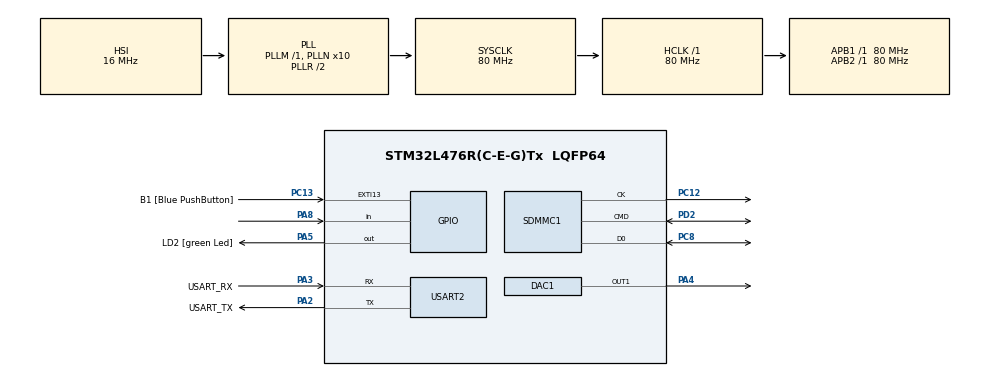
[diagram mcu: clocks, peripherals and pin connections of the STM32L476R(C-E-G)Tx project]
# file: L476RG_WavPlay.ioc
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DAC1.DAC_OutputBuffer-DAC_OUT1=DAC_OUTPUTBUFFER_ENABLE
DAC1.DAC_Trigger-DAC_OUT1=DAC_TRIGGER_T4_TRGO
Dma.DAC_CH1.0.Direction=DMA_MEMORY_TO_PERIPH
Dma.DAC_CH1.0.Instance=DMA1_Channel3
Dma.DAC_CH1.0.MemDataAlignment=DMA_MDATAALIGN_HALFWORD
Dma.DAC_CH1.0.MemInc=DMA_MINC_ENABLE
Dma.DAC_CH1.0.Mode=DMA_NORMAL
Dma.DAC_CH1.0.PeriphDataAlignment=DMA_PDATAALIGN_HALFWORD
Dma.DAC_CH1.0.PeriphInc=DMA_PINC_DISABLE
Dma.DAC_CH1.0.Priority=DMA_PRIORITY_LOW
Dma.Request0=DAC_CH1
FATFS.BSP.number=1
FATFS0.BSP.STBoard=false
FATFS0.BSP.api=Unknown
FATFS0.BSP.i2caddr=0
FATFS0.BSP.instance=PA8
FATFS0.BSP.ip=GPIO
FATFS0.BSP.mode=Input
FATFS0.BSP.name=Detect_SDIO
FATFS0.BSP.solution=PA8
Mcu.Family=STM32L4
Mcu.Name=STM32L476R(C-E-G)Tx
Mcu.Package=LQFP64
NVIC.DMA1_Channel3_IRQn=true\:0\:0\:false\:false\:true\:false\:true
NVIC.PriorityGroup=NVIC_PRIORITYGROUP_4
PA13\ (JTMS-SWDIO).GPIO_Label=TMS
PA13\ (JTMS-SWDIO).Mode=Serial_Wire
PA13\ (JTMS-SWDIO).Signal=SYS_JTMS-SWDIO
PA14\ (JTCK-SWCLK).GPIO_Label=TCK
PA14\ (JTCK-SWCLK).Mode=Serial_Wire
PA14\ (JTCK-SWCLK).Signal=SYS_JTCK-SWCLK
PA2.GPIO_Label=USART_TX
PA2.GPIO_Mode=GPIO_MODE_AF_PP
PA2.GPIO_PuPd=GPIO_NOPULL
PA2.GPIO_Speed=GPIO_SPEED_FREQ_VERY_HIGH
PA2.Mode=Asynchronous
PA2.Signal=USART2_TX
PA3.GPIO_Label=USART_RX
PA3.GPIO_Mode=GPIO_MODE_AF_PP
PA3.GPIO_PuPd=GPIO_NOPULL
PA3.GPIO_Speed=GPIO_SPEED_FREQ_VERY_HIGH
PA3.Mode=Asynchronous
PA3.Signal=USART2_RX
PA4.Signal=COMP_DAC11_group
PA5.GPIO_Label=LD2 [green Led]
PA5.GPIO_ModeDefaultOutputPP=GPIO_MODE_OUTPUT_PP
PA5.GPIO_PuPd=GPIO_NOPULL
PA5.GPIO_Speed=GPIO_SPEED_FREQ_LOW
PA5.Signal=GPIO_Output
PA8.Signal=GPIO_Input
PB3\ (JTDO-TRACESWO).GPIO_Label=SWO
PB3\ (JTDO-TRACESWO).Signal=SYS_JTDO-SWO
PC12.Mode=SD_1_bit
PC12.Signal=SDMMC1_CK
PC13.GPIO_Label=B1 [Blue PushButton]
PC13.GPIO_ModeDefaultEXTI=GPIO_MODE_IT_FALLING
PC13.GPIO_PuPd=GPIO_NOPULL
PC13.Signal=GPXTI13
PC14-OSC32_IN\ (PC14).Mode=LSE-External-Oscillator
PC14-OSC32_IN\ (PC14).Signal=RCC_OSC32_IN
PC15-OSC32_OUT\ (PC15).Mode=LSE-External-Oscillator
PC15-OSC32_OUT\ (PC15).Signal=RCC_OSC32_OUT
PC8.Mode=SD_1_bit
PC8.Signal=SDMMC1_D0
PD2.Mode=SD_1_bit
PD2.Signal=SDMMC1_CMD
PH0-OSC_IN\ (PH0).Signal=RCC_OSC_IN
PH1-OSC_OUT\ (PH1).Signal=RCC_OSC_OUT
ProjectManager.HeapSize=0x200
ProjectManager.StackSize=0x400
ProjectManager.TargetToolchain=STM32CubeIDE
RCC.ADCFreq_Value=64000000
RCC.AHBFreq_Value=80000000
RCC.APB1Freq_Value=80000000
RCC.APB1TimFreq_Value=80000000
RCC.APB2Freq_Value=80000000
RCC.APB2TimFreq_Value=80000000
RCC.CortexFreq_Value=80000000
RCC.HCLKFreq_Value=80000000
RCC.HSE_VALUE=8000000
RCC.HSI_VALUE=16000000
RCC.MSI_VALUE=4000000
RCC.PLLN=10
RCC.PLLSAI1Q=RCC_PLLQ_DIV4
RCC.PLLSourceVirtual=RCC_PLLSOURCE_HSI
RCC.PREFETCH_ENABLE=1
RCC.SYSCLKFreq_VALUE=80000000
RCC.SYSCLKSource=RCC_SYSCLKSOURCE_PLLCLK
RCC.USBFreq_Value=32000000
RCC.VCOOutputFreq_Value=160000000
SDMMC1.ClockDiv=0
SH.COMP_DAC11_group.0=DAC1_OUT1,DAC_OUT1
TIM4.Period=1813
TIM4.TIM_MasterOutputTrigger=TIM_TRGO_UPDATE
USART2.VirtualMode-Asynchronous=VM_ASYNC
VP_FATFS_VS_SDIO.Mode=SDIO
VP_TIM4_VS_ClockSourceINT.Mode=Internal
board=NUCLEO-L476RG

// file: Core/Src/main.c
/* USER CODE BEGIN Header */
/**
******************************************************************************
* @file           : main.c
* @brief          : Main program body
******************************************************************************
* @attention
*
* <h2><center>&copy; Copyright (c) 2020 STMicroelectronics.
* All rights reserved.</center></h2>
*
* This software component is licensed by ST under BSD 3-Clause license,
* the "License"; You may not use this file except in compliance with the
* License. You may obtain a copy of the License at:
*                        opensource.org/licenses/BSD-3-Clause
*
******************************************************************************
*/
/* USER CODE END Header */
#include "main.h"
#include "fatfs.h"

/* USER CODE BEGIN Includes */
#include <string.h>
#include "wav.h"
/* USER CODE END Includes */

DAC_HandleTypeDef hdac1;
DMA_HandleTypeDef hdma_dac_ch1;

SD_HandleTypeDef hsd1;

TIM_HandleTypeDef htim4;

UART_HandleTypeDef huart2;

void SystemClock_Config(void);
static void MX_GPIO_Init(void);
static void MX_DMA_Init(void);
static void MX_USART2_UART_Init(void);
static void MX_DAC1_Init(void);
static void MX_SDMMC1_SD_Init(void);
static void MX_TIM4_Init(void);

/* USER CODE BEGIN 0 */

#define BUFSIZE 512

#define MIN(a,b) (((a)<(b))? (a):(b))
typedef void (*funcP)(uint8_t channels, uint16_t numSamples, void *pIn, uint16_t *pOutput);

uint8_t flg_dma_done;

static uint8_t fileBuffer[BUFSIZE];
static uint8_t dmaBuffer[2][BUFSIZE];
static uint8_t dmaBank = 0;

static void
setSampleRate(uint16_t freq)
{
  uint16_t period = (80000000 / freq) - 1;

  htim4.Instance = TIM4;
  htim4.Init.Prescaler = 0;
  htim4.Init.CounterMode = TIM_COUNTERMODE_UP;
  htim4.Init.Period = period;
  htim4.Init.ClockDivision = TIM_CLOCKDIVISION_DIV1;
  htim4.Init.AutoReloadPreload = TIM_AUTORELOAD_PRELOAD_DISABLE;
  HAL_TIM_Base_Init(&htim4);
}

static inline uint16_t
val2Dac8(int32_t v)
{
  uint16_t out = v << 3;
  return out;
}

static inline uint16_t
val2Dac16(int32_t v)
{
  v >>= 4;
  v += 2047;
  return v & 0xfff;
}

static void
prepareDACBuffer_8Bit(uint8_t channels, uint16_t numSamples, void *pIn, uint16_t *pOutput)
{
  uint8_t *pInput = (uint8_t *)pIn;

  for (int i=0; i<numSamples; i++) {
    int32_t val = 0;

    for(int j=0; j<channels; j++) {
      val += *pInput++;
    }
    val /= channels;
    *pOutput++ = val2Dac8(val);
  }
}

static void
prepareDACBuffer_16Bit(uint8_t channels, uint16_t numSamples, void *pIn, uint16_t *pOutput)
{
  int16_t *pInput = (int16_t *)pIn;

  for (int i=0; i<numSamples; i++) {
    int32_t val = 0;

    for(int j=0; j<channels; j++) {
      val += *pInput++;
    }
    val /= channels;
    *pOutput++ = val2Dac16(val);
  }
}

static void
outputSamples(FIL *fil, struct Wav_Header *header)
{
  const uint8_t channels = header->channels;
  const uint8_t bytesPerSample = header->bitsPerSample / 8;

  funcP prepareData = (header->bitsPerSample == 8)? prepareDACBuffer_8Bit : prepareDACBuffer_16Bit;

  flg_dma_done = 1;
  dmaBank = 0;

  uint32_t bytes_last = header->dataChunkLength;

  while(0 < bytes_last) {

    int blksize = (header->bitsPerSample == 8)? MIN(bytes_last, BUFSIZE / 2) : MIN(bytes_last, BUFSIZE);

    UINT bytes_read;
    FRESULT res;

    res = f_read(fil, fileBuffer, blksize, &bytes_read);
    if (res != FR_OK || bytes_read == 0)
      break;

    uint16_t numSamples = bytes_read / bytesPerSample / channels;
    int16_t     *pInput = (int16_t *)fileBuffer;
    uint16_t   *pOutput = (uint16_t *)dmaBuffer[dmaBank];

    prepareData(channels, numSamples, pInput, pOutput);

    // wait for DMA complete
    while(flg_dma_done == 0) {
      __NOP();
    }

    HAL_DAC_Stop_DMA(&hdac1, DAC_CHANNEL_1);
    flg_dma_done = 0;
    HAL_DAC_Start_DMA(&hdac1, DAC_CHANNEL_1, (uint32_t*)dmaBuffer[dmaBank], numSamples, DAC_ALIGN_12B_R);

    dmaBank = !dmaBank;
    bytes_last -= blksize;
  };

  while(flg_dma_done == 0) {
    __NOP();
  }

  HAL_DAC_Stop_DMA(&hdac1, DAC_CHANNEL_1);
}

static uint8_t
isSupprtedWavFile(const struct Wav_Header *header)
{
  if (strncmp(header->riff, "RIFF", 4 ) != 0)
    return 0;

  if (header->vfmt != 1)
    return 0;

  if (strncmp(header->dataChunkHeader, "data", 4 ) != 0)
    return 0;

  return 1;
}

static void
playWavFile(char *filename)
{
  FIL fil;
  FRESULT res;
  UINT count = 0;

  struct Wav_Header header;

  res = f_open(&fil, filename, FA_READ);
  if (res != FR_OK)
    return;

  res = f_read(&fil, &header, sizeof(struct Wav_Header), &count);
  if (res != FR_OK)
    goto done;

  if (!isSupprtedWavFile(&header))
    goto done;

  setSampleRate(header.sampleFreq);
  outputSamples(&fil, &header);

done :
  res = f_close(&fil);
  if (res != FR_OK)
    return;
}

/* USER CODE END 0 */

int main(void)
{

  /* MCU Configuration--------------------------------------------------------*/

  /* Reset of all peripherals, Initializes the Flash interface and the Systick. */
  HAL_Init();

  /* Configure the system clock */
  SystemClock_Config();

  /* Initialize all configured peripherals */
  MX_GPIO_Init();
  MX_DMA_Init();
  MX_USART2_UART_Init();
  MX_DAC1_Init();
  MX_SDMMC1_SD_Init();
  MX_TIM4_Init();
  MX_FATFS_Init();
  /* USER CODE BEGIN 2 */

  HAL_TIM_Base_Start(&htim4);

  FATFS FatFs;
  FRESULT res;
  DIR dir;
  FILINFO fno;

  res = f_mount(&FatFs, "", 0);
  if (res != FR_OK)
    return EXIT_FAILURE;

  res = f_opendir(&dir, "");
  if (res != FR_OK)
    return EXIT_FAILURE;

  while(1) {
    res = f_readdir(&dir, &fno);
    if (res != FR_OK || fno.fname[0] == 0)
      break;

    char *filename = fno.fname;

    if (strstr(filename, ".WAV") != 0) {
      playWavFile(filename);
    }

    HAL_Delay(1000);
  }

  res = f_closedir(&dir);

  /* USER CODE END 2 */

  /* Infinite loop */
  while (1)
  {

  }
}

void SystemClock_Config(void)
{
  RCC_OscInitTypeDef RCC_OscInitStruct = {0};
  RCC_ClkInitTypeDef RCC_ClkInitStruct = {0};
  RCC_PeriphCLKInitTypeDef PeriphClkInit = {0};

  /** Initializes the RCC Oscillators according to the specified parameters
   * in the RCC_OscInitTypeDef structure.
   */
  RCC_OscInitStruct.OscillatorType = RCC_OSCILLATORTYPE_HSI;
  RCC_OscInitStruct.HSIState = RCC_HSI_ON;
  RCC_OscInitStruct.HSICalibrationValue = RCC_HSICALIBRATION_DEFAULT;
  RCC_OscInitStruct.PLL.PLLState = RCC_PLL_ON;
  RCC_OscInitStruct.PLL.PLLSource = RCC_PLLSOURCE_HSI;
  RCC_OscInitStruct.PLL.PLLM = 1;
  RCC_OscInitStruct.PLL.PLLN = 10;
  RCC_OscInitStruct.PLL.PLLP = RCC_PLLP_DIV7;
  RCC_OscInitStruct.PLL.PLLQ = RCC_PLLQ_DIV2;
  RCC_OscInitStruct.PLL.PLLR = RCC_PLLR_DIV2;
  if (HAL_RCC_OscConfig(&RCC_OscInitStruct) != HAL_OK)
  {
    Error_Handler();
  }
  /** Initializes the CPU, AHB and APB buses clocks
   */
  RCC_ClkInitStruct.ClockType = RCC_CLOCKTYPE_HCLK|RCC_CLOCKTYPE_SYSCLK
    |RCC_CLOCKTYPE_PCLK1|RCC_CLOCKTYPE_PCLK2;
  RCC_ClkInitStruct.SYSCLKSource = RCC_SYSCLKSOURCE_PLLCLK;
  RCC_ClkInitStruct.AHBCLKDivider = RCC_SYSCLK_DIV1;
  RCC_ClkInitStruct.APB1CLKDivider = RCC_HCLK_DIV1;
  RCC_ClkInitStruct.APB2CLKDivider = RCC_HCLK_DIV1;

  if (HAL_RCC_ClockConfig(&RCC_ClkInitStruct, FLASH_LATENCY_4) != HAL_OK)
  {
    Error_Handler();
  }
  PeriphClkInit.PeriphClockSelection = RCC_PERIPHCLK_USART2|RCC_PERIPHCLK_SDMMC1;
  PeriphClkInit.Usart2ClockSelection = RCC_USART2CLKSOURCE_PCLK1;
  PeriphClkInit.Sdmmc1ClockSelection = RCC_SDMMC1CLKSOURCE_PLLSAI1;
  PeriphClkInit.PLLSAI1.PLLSAI1Source = RCC_PLLSOURCE_HSI;
  PeriphClkInit.PLLSAI1.PLLSAI1M = 1;
  PeriphClkInit.PLLSAI1.PLLSAI1N = 8;
  PeriphClkInit.PLLSAI1.PLLSAI1P = RCC_PLLP_DIV7;
  PeriphClkInit.PLLSAI1.PLLSAI1Q = RCC_PLLQ_DIV4;
  PeriphClkInit.PLLSAI1.PLLSAI1R = RCC_PLLR_DIV2;
  PeriphClkInit.PLLSAI1.PLLSAI1ClockOut = RCC_PLLSAI1_48M2CLK;
  if (HAL_RCCEx_PeriphCLKConfig(&PeriphClkInit) != HAL_OK)
  {
    Error_Handler();
  }
  /** Configure the main internal regulator output voltage
   */
  if (HAL_PWREx_ControlVoltageScaling(PWR_REGULATOR_VOLTAGE_SCALE1) != HAL_OK)
  {
    Error_Handler();
  }
}

static void MX_DAC1_Init(void)
{

  DAC_ChannelConfTypeDef sConfig = {0};

  /** DAC Initialization
   */
  hdac1.Instance = DAC1;
  if (HAL_DAC_Init(&hdac1) != HAL_OK)
  {
    Error_Handler();
  }
  /** DAC channel OUT1 config
   */
  sConfig.DAC_SampleAndHold = DAC_SAMPLEANDHOLD_DISABLE;
  sConfig.DAC_Trigger = DAC_TRIGGER_T4_TRGO;
  sConfig.DAC_OutputBuffer = DAC_OUTPUTBUFFER_ENABLE;
  sConfig.DAC_ConnectOnChipPeripheral = DAC_CHIPCONNECT_DISABLE;
  sConfig.DAC_UserTrimming = DAC_TRIMMING_FACTORY;
  if (HAL_DAC_ConfigChannel(&hdac1, &sConfig, DAC_CHANNEL_1) != HAL_OK)
  {
    Error_Handler();
  }

}

static void MX_SDMMC1_SD_Init(void)
{

  hsd1.Instance = SDMMC1;
  hsd1.Init.ClockEdge = SDMMC_CLOCK_EDGE_RISING;
  hsd1.Init.ClockBypass = SDMMC_CLOCK_BYPASS_DISABLE;
  hsd1.Init.ClockPowerSave = SDMMC_CLOCK_POWER_SAVE_DISABLE;
  hsd1.Init.BusWide = SDMMC_BUS_WIDE_1B;
  hsd1.Init.HardwareFlowControl = SDMMC_HARDWARE_FLOW_CONTROL_DISABLE;
  hsd1.Init.ClockDiv = 0;

}

static void MX_TIM4_Init(void)
{

  TIM_ClockConfigTypeDef sClockSourceConfig = {0};
  TIM_MasterConfigTypeDef sMasterConfig = {0};

  htim4.Instance = TIM4;
  htim4.Init.Prescaler = 0;
  htim4.Init.CounterMode = TIM_COUNTERMODE_UP;
  htim4.Init.Period = 1813;
  htim4.Init.ClockDivision = TIM_CLOCKDIVISION_DIV1;
  htim4.Init.AutoReloadPreload = TIM_AUTORELOAD_PRELOAD_DISABLE;
  if (HAL_TIM_Base_Init(&htim4) != HAL_OK)
  {
    Error_Handler();
  }
  sClockSourceConfig.ClockSource = TIM_CLOCKSOURCE_INTERNAL;
  if (HAL_TIM_ConfigClockSource(&htim4, &sClockSourceConfig) != HAL_OK)
  {
    Error_Handler();
  }
  sMasterConfig.MasterOutputTrigger = TIM_TRGO_UPDATE;
  sMasterConfig.MasterSlaveMode = TIM_MASTERSLAVEMODE_DISABLE;
  if (HAL_TIMEx_MasterConfigSynchronization(&htim4, &sMasterConfig) != HAL_OK)
  {
    Error_Handler();
  }

}

static void MX_USART2_UART_Init(void)
{

  huart2.Instance = USART2;
  huart2.Init.BaudRate = 115200;
  huart2.Init.WordLength = UART_WORDLENGTH_8B;
  huart2.Init.StopBits = UART_STOPBITS_1;
  huart2.Init.Parity = UART_PARITY_NONE;
  huart2.Init.Mode = UART_MODE_TX_RX;
  huart2.Init.HwFlowCtl = UART_HWCONTROL_NONE;
  huart2.Init.OverSampling = UART_OVERSAMPLING_16;
  huart2.Init.OneBitSampling = UART_ONE_BIT_SAMPLE_DISABLE;
  huart2.AdvancedInit.AdvFeatureInit = UART_ADVFEATURE_NO_INIT;
  if (HAL_UART_Init(&huart2) != HAL_OK)
  {
    Error_Handler();
  }

}

static void MX_DMA_Init(void)
{

  /* DMA controller clock enable */
  __HAL_RCC_DMA1_CLK_ENABLE();

  /* DMA interrupt init */
  /* DMA1_Channel3_IRQn interrupt configuration */
  HAL_NVIC_SetPriority(DMA1_Channel3_IRQn, 0, 0);
  HAL_NVIC_EnableIRQ(DMA1_Channel3_IRQn);

}

static void MX_GPIO_Init(void)
{
  GPIO_InitTypeDef GPIO_InitStruct = {0};

  /* GPIO Ports Clock Enable */
  __HAL_RCC_GPIOC_CLK_ENABLE();
  __HAL_RCC_GPIOH_CLK_ENABLE();
  __HAL_RCC_GPIOA_CLK_ENABLE();
  __HAL_RCC_GPIOD_CLK_ENABLE();
  __HAL_RCC_GPIOB_CLK_ENABLE();

  /*Configure GPIO pin Output Level */
  HAL_GPIO_WritePin(LD2_GPIO_Port, LD2_Pin, GPIO_PIN_RESET);

  /*Configure GPIO pin : B1_Pin */
  GPIO_InitStruct.Pin = B1_Pin;
  GPIO_InitStruct.Mode = GPIO_MODE_IT_FALLING;
  GPIO_InitStruct.Pull = GPIO_NOPULL;
  HAL_GPIO_Init(B1_GPIO_Port, &GPIO_InitStruct);

  /*Configure GPIO pin : LD2_Pin */
  GPIO_InitStruct.Pin = LD2_Pin;
  GPIO_InitStruct.Mode = GPIO_MODE_OUTPUT_PP;
  GPIO_InitStruct.Pull = GPIO_NOPULL;
  GPIO_InitStruct.Speed = GPIO_SPEED_FREQ_LOW;
  HAL_GPIO_Init(LD2_GPIO_Port, &GPIO_InitStruct);

  /*Configure GPIO pin : PA8 */
  GPIO_InitStruct.Pin = GPIO_PIN_8;
  GPIO_InitStruct.Mode = GPIO_MODE_INPUT;
  GPIO_InitStruct.Pull = GPIO_NOPULL;
  HAL_GPIO_Init(GPIOA, &GPIO_InitStruct);

}

/* USER CODE BEGIN 4 */
void HAL_DAC_ConvCpltCallbackCh1(DAC_HandleTypeDef* hdac)
{
	flg_dma_done = 1;
}

/* USER CODE END 4 */

void Error_Handler(void)
{
}

/************************ (C) COPYRIGHT STMicroelectronics *****END OF FILE****/
